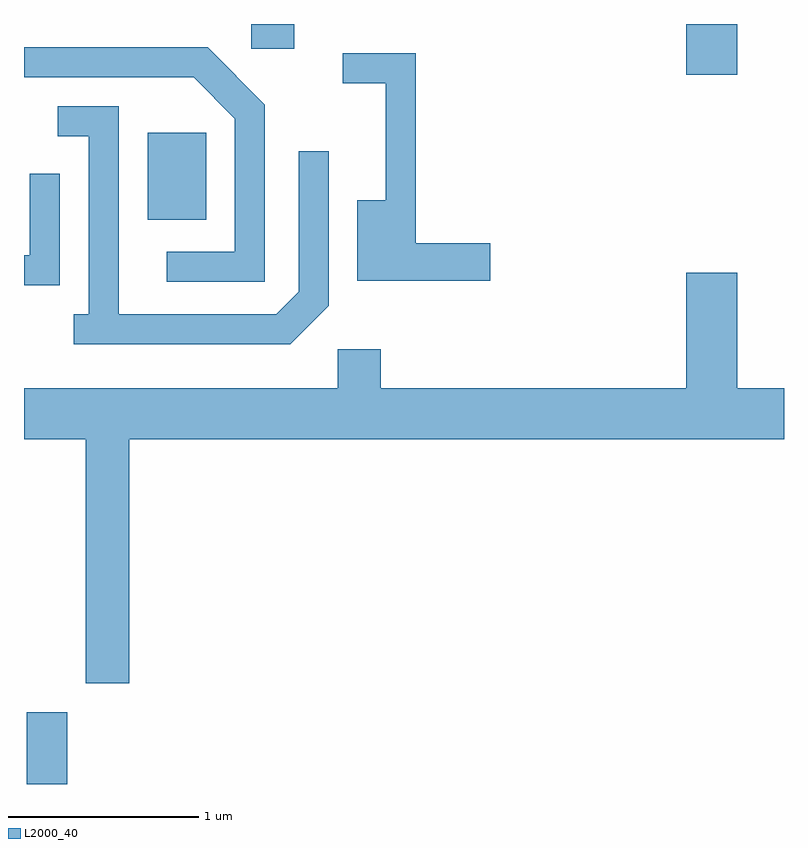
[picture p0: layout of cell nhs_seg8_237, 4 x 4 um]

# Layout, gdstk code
import gdstk
lib = gdstk.Library(unit=1e-6, precision=1e-09)
def R(c, l, rs):  # rectangles x0, y0, x1, y1
    for r in rs: c.add(gdstk.rectangle(r[:2], r[2:], *l))
def P(c, l, *ps):  # polygons
    for p in ps: c.add(gdstk.Polygon(p, *l))
L2000_40 = (2000, 40)

nhs_seg8_237 = lib.new_cell('nhs_seg8_237')
R(nhs_seg8_237, L2000_40, [(191.626,1872.342,191.839,1872.719), (192.261,1875.311,192.569,1875.769), (195.096,1876.076,195.364,1876.342), (192.806,1876.211,193.034,1876.342)])
P(nhs_seg8_237, L2000_40, [(192.879,1875.917),(192.577,1876.219),(191.611,1876.219),(191.611,1876.061),(192.504,1876.061),(192.721,1875.844),(192.721,1875.144),(192.363,1875.144),(192.363,1874.986),(192.879,1874.986)],
  [(194.064,1875.189),(193.674,1875.189),(193.674,1876.189),(193.288,1876.189),(193.288,1876.031),(193.516,1876.031),(193.516,1875.414),(193.366,1875.414),(193.366,1874.991),(194.064,1874.991)],
  [(193.214,1874.859),(193.214,1875.673),(193.056,1875.673),(193.056,1874.932),(192.939,1874.814),(192.109,1874.814),(192.109,1875.909),(191.788,1875.909),(191.788,1875.751),(191.951,1875.751),(191.951,1874.814),(191.873,1874.814),(191.873,1874.656),(193.012,1874.656)],
  [(191.799,1875.553),(191.641,1875.553),(191.641,1875.124),(191.611,1875.124),(191.611,1874.966),(191.799,1874.966)],
  [(192.164,1874.156),(195.611,1874.156),(195.611,1874.424),(195.364,1874.424),(195.364,1875.034),(195.096,1875.034),(195.096,1874.424),(193.489,1874.424),(193.489,1874.629),(193.261,1874.629),(193.261,1874.424),(191.611,1874.424),(191.611,1874.156),(191.936,1874.156),(191.936,1872.871),(192.164,1872.871)])

lib.write_gds('nhs_seg8_237.gds')
